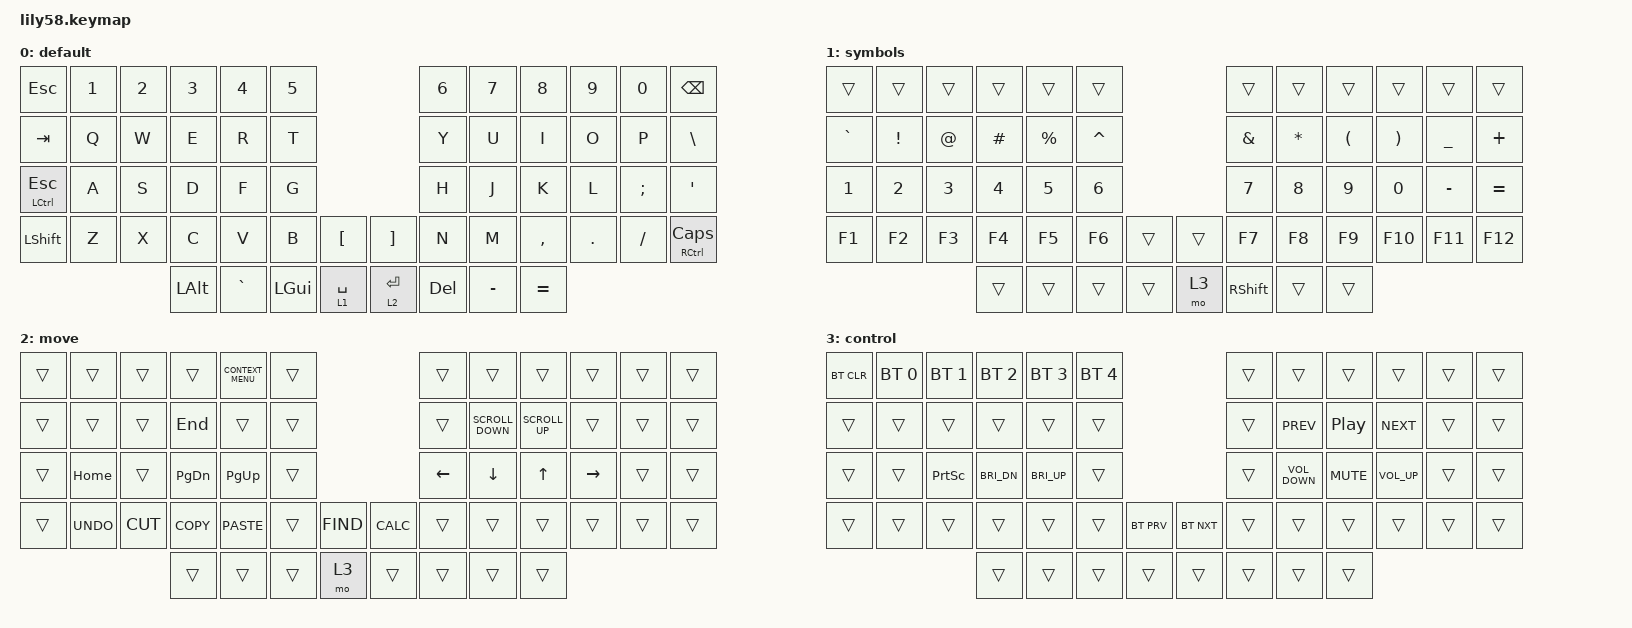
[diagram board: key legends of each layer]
/*
 * Copyright (c) 2020 The ZMK Contributors
 *
 * SPDX-License-Identifier: MIT
 */

#include <behaviors.dtsi>
#include <dt-bindings/zmk/bt.h>
#include <dt-bindings/zmk/keys.h>

/ {
    keymap {
        compatible = "zmk,keymap";

        default {
            bindings = <
&kp ESCAPE        &kp N1  &kp N2  &kp N3    &kp N4     &kp N5                              &kp N6      &kp N7     &kp N8     &kp N9   &kp N0    &kp BACKSPACE
&kp TAB           &kp Q   &kp W   &kp E     &kp R      &kp T                               &kp Y       &kp U      &kp I      &kp O    &kp P     &kp BSLH
&mt LCTRL ESCAPE  &kp A   &kp S   &kp D     &kp F      &kp G                               &kp H       &kp J      &kp K      &kp L    &kp SEMI  &kp APOS
&kp LSHFT         &kp Z   &kp X   &kp C     &kp V      &kp B     &kp LBKT       &kp RBKT   &kp N       &kp M      &kp COMMA  &kp DOT  &kp FSLH  &mt RIGHT_CONTROL CAPS
                                  &kp LALT  &kp GRAVE  &kp LGUI  &lt 1 SPACE    &lt 2 RET  &kp DELETE  &kp MINUS  &kp EQUAL
            >;
        };

        symbols {
            bindings = <
&trans     &trans           &trans  &trans     &trans       &trans                       &trans      &trans    &trans                &trans                 &trans          &trans
&kp GRAVE  &kp EXCLAMATION  &kp AT  &kp POUND  &kp PERCENT  &kp CARET                    &kp AMPS    &kp STAR  &kp LEFT_PARENTHESIS  &kp RIGHT_PARENTHESIS  &kp UNDERSCORE  &kp PLUS
&kp N1     &kp N2           &kp N3  &kp N4     &kp N5       &kp N6                       &kp N7      &kp N8    &kp N9                &kp N0                 &kp MINUS       &kp EQUAL
&kp F1     &kp F2           &kp F3  &kp F4     &kp F5       &kp F6     &trans    &trans  &kp F7      &kp F8    &kp F9                &kp F10                &kp F11         &kp F12
                                    &trans     &trans       &trans     &trans    &mo 3   &kp RSHIFT  &trans    &trans
            >;
        };

        move {
            bindings = <
&trans  &trans      &trans     &trans         &kp K_CONTEXT_MENU  &trans                            &trans    &trans             &trans           &trans           &trans  &trans
&trans  &trans      &trans     &kp END        &trans              &trans                            &trans    &kp K_SCROLL_DOWN  &kp K_SCROLL_UP  &trans           &trans  &trans
&trans  &kp HOME    &trans     &kp PAGE_DOWN  &kp PAGE_UP         &trans                            &kp LEFT  &kp DOWN           &kp UP           &kp RIGHT_ARROW  &trans  &trans
&trans  &kp K_UNDO  &kp K_CUT  &kp K_COPY     &kp K_PASTE         &trans  &kp K_FIND    &kp K_CALC  &trans    &trans             &trans           &trans           &trans  &trans
                               &trans         &trans              &trans  &mo 3         &trans      &trans    &trans             &trans
            >;
        };

        control {
            bindings = <
&bt BT_CLR  &bt BT_SEL 0  &bt BT_SEL 1     &bt BT_SEL 2  &bt BT_SEL 3  &bt BT_SEL 4                            &trans  &trans             &trans            &trans        &trans  &trans
&trans      &trans        &trans           &trans        &trans        &trans                                  &trans  &kp C_PREV         &kp C_PLAY_PAUSE  &kp C_NEXT    &trans  &trans
&trans      &trans        &kp PRINTSCREEN  &kp C_BRI_DN  &kp C_BRI_UP  &trans                                  &trans  &kp C_VOLUME_DOWN  &kp K_MUTE        &kp C_VOL_UP  &trans  &trans
&trans      &trans        &trans           &trans        &trans        &trans        &bt BT_PRV    &bt BT_NXT  &trans  &trans             &trans            &trans        &trans  &trans
                                           &trans        &trans        &trans        &trans        &trans      &trans  &trans             &trans
            >;
        };
    };
};
